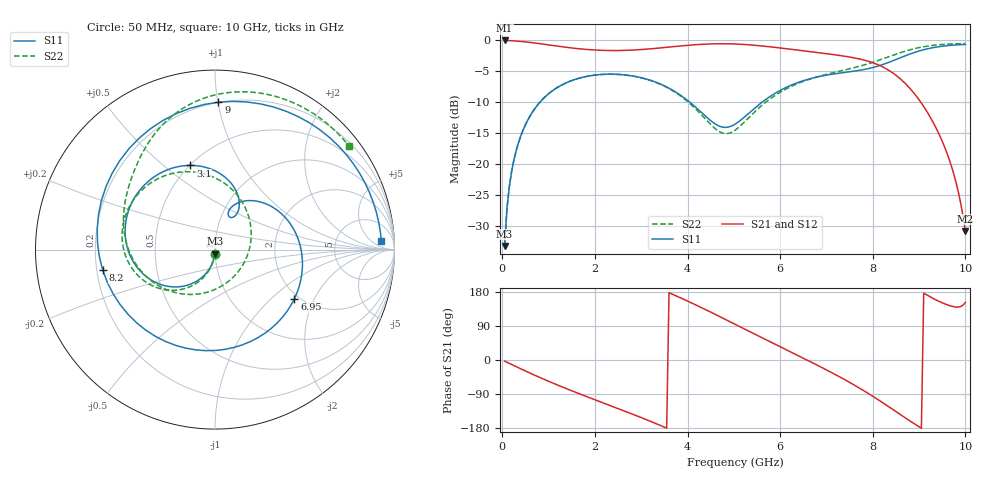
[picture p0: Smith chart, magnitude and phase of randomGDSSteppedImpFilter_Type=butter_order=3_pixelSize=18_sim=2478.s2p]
! freq	dB(S11)	phase(S11)	dB(S12)	phase(S12)
!  dB(S21)	phase(S21)	dB(S22)	phase(S22)
!S-par simulation data
#  GHz  S  DB  R 50
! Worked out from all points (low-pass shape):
!   200 points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, 50 MHz to 10 GHz, reference 50 ohm
!   highest |S21| = 0.00 dB at 50 MHz (marker M1); lowest = -30.8 dB at 10 GHz (marker M2)
!   |S21| within 3 dB of the highest: start of sweep to 7.718 GHz
!   lowest |S11| = -33.2 dB at 50 MHz (marker M3), VSWR 1.04, Z = 49.8 - j2.18 ohm
!   |S11| at or under -10 dB: start of sweep to 810.4 MHz; 4.053 GHz to 5.605 GHz (1.552 GHz wide, 32.1 % of centre)
!   |S22| runs from -33.2 to -0.5 dB; largest |S21 - S12| = 0
!   S11 on the Smith chart (normalised r, x): 50 MHz: 1.00, -0.04; 3.1 GHz: 0.50, +0.62; 6.95 GHz: 1.88, -1.42; 8.2 GHz: 0.22, -0.08; 9 GHz: 0.20, +1.00; 10 GHz: 18, +12
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0.05  -33.18 -93.1  -0.00 -3.0  -0.00 -3.0  -33.22 -92.7
0.1  -27.18 -96.3  -0.01 -5.9  -0.01 -5.9  -27.21 -95.7
0.2  -21.22 -102.7  -0.05 -11.8  -0.05 -11.8  -21.22 -101.4
0.5  -13.61 -121.0  -0.24 -29.0  -0.24 -29.0  -13.61 -118.1
1.1  -8.04 -155.1  -0.82 -61.4  -0.82 -61.4  -8.03 -148.7
1.75  -5.92 171.4  -1.41 -93.2  -1.41 -93.2  -5.92 -178.8
2.4  -5.45 139.8  -1.64 -123.4  -1.64 -123.4  -5.45 152.6
3.1  -6.22 106.4  -1.42 -156.8  -1.42 -156.8  -6.24 119.9
3.4  -7.00 92.2  -1.22 -172.0  -1.22 -172.0  -7.04 104.1
4.2  -10.95 61.5  -0.68 144.1  -0.68 144.1  -11.25 48.9
5.05  -13.41 69.9  -0.58 92.9  -0.58 92.9  -14.37 -65.9
5.95  -8.28 40.8  -1.17 38.1  -1.17 38.1  -8.60 -146.9
6.7  -6.08 -11.3  -1.86 -7.4  -1.86 -7.4  -6.11 175.6
6.95  -5.67 -31.9  -2.09 -23.0  -2.09 -23.0  -5.57 165.3
7.65  -4.90 -100.9  -2.89 -69.6  -2.89 -69.6  -4.29 140.1
8.2  -3.93 -169.8  -4.22 -111.5  -4.22 -111.5  -3.03 121.2
8.35  -3.53 170.1  -4.84 -123.7  -4.84 -123.7  -2.62 115.4
8.65  -2.63 130.5  -6.57 -148.5  -6.57 -148.5  -1.85 102.6
9  -1.71 88.7  -9.58 -176.2  -9.58 -176.2  -1.16 86.1
9.5  -0.93 40.0  -16.29 150.9  -16.29 150.9  -0.65 61.5
9.8  -0.72 16.6  -22.99 139.8  -22.99 139.8  -0.54 47.1
10  -0.65 2.9  -30.75 152.0  -30.75 152.0  -0.51 37.7
